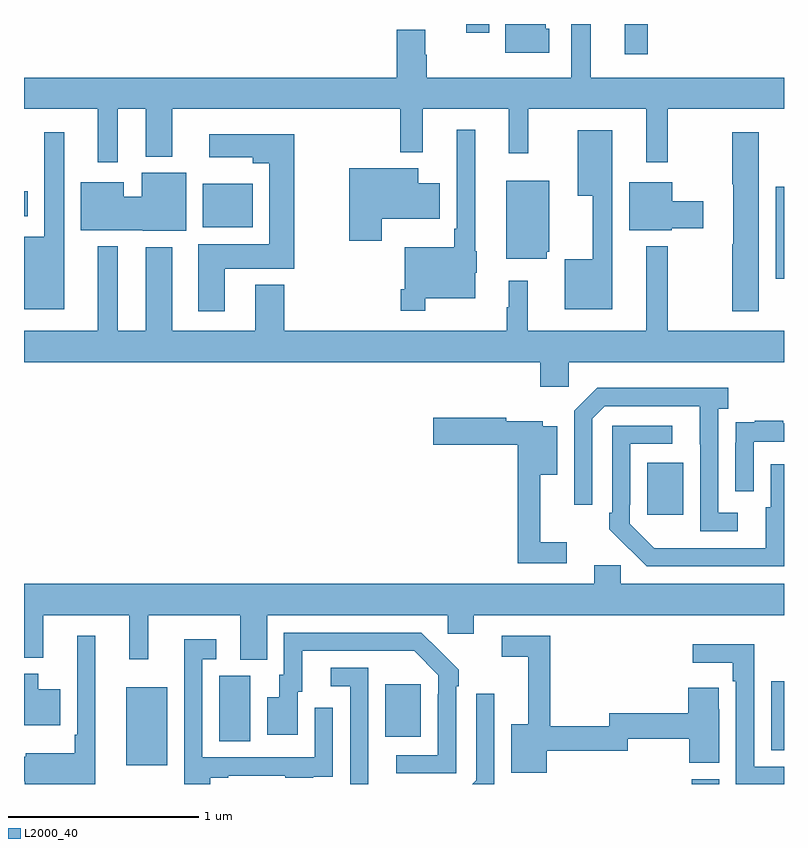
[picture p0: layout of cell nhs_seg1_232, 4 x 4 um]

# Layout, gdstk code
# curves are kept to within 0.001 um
import gdstk
lib = gdstk.Library(unit=1e-6, precision=1e-09)
def R(c, l, rs):  # rectangles x0, y0, x1, y1
    for r in rs: c.add(gdstk.rectangle(r[:2], r[2:], *l))
def P(c, l, *ps):  # polygons
    for p in ps: c.add(gdstk.Polygon(p, *l))
L2000_40 = (2000, 40)

nhs_seg1_232 = lib.new_cell('nhs_seg1_232')
R(nhs_seg1_232, L2000_40, [(126.515,528.199,126.658,528.225), (123.539,528.299,123.754,528.709), (126.932,528.376,127,528.739), (124.028,528.424,124.192,528.768), (124.901,528.449,125.089,528.724), (126.281,529.617,126.469,529.891), (126.957,530.859,127,531.343), (123.941,531.128,124.204,531.358), (123,531.188,123.019,531.318), (126.161,532.041,126.283,532.199), (125.327,532.152,125.449,532.199)])
P(nhs_seg1_232, L2000_40, [(125.764,532.173),(125.746,532.173),(125.746,532.199),(125.534,532.199),(125.534,532.049),(125.764,532.049)],
  [(123.493,531.752),(123.641,531.752),(123.641,531.5),(123.781,531.5),(123.781,531.752),(124.981,531.752),(124.981,531.524),(125.099,531.524),(125.099,531.752),(125.552,531.752),(125.552,531.519),(125.654,531.519),(125.654,531.752),(126.275,531.752),(126.275,531.471),(126.389,531.471),(126.389,531.752),(127,531.752),(127,531.916),(125.983,531.916),(125.983,532.198),(125.879,532.198),(125.879,531.916),(125.121,531.916),(125.121,532.037),(125.113,532.037),(125.113,532.168),(124.961,532.168),(124.961,531.916),(123,531.916),(123,531.752),(123.389,531.752),(123.389,531.471),(123.493,531.471)],
  [(125.113,530.756),(125.374,530.756),(125.374,530.889),(125.383,530.889),(125.383,531.003),(125.374,531.003),(125.374,531.643),(125.277,531.643),(125.277,531.121),(125.265,531.121),(125.265,531.025),(125.004,531.025),(125.004,530.803),(124.984,530.803),(124.984,530.691),(125.113,530.691)],
  [(126.097,531.64),(125.915,531.64),(125.915,531.296),(125.993,531.296),(125.993,530.962),(125.846,530.962),(125.846,530.699),(126.097,530.699)],
  [(123.211,531.628),(123.107,531.628),(123.107,531.079),(123,531.079),(123,530.699),(123.211,530.699)],
  [(126.868,531.628),(126.727,531.628),(126.727,531.355),(126.734,531.355),(126.734,531.041),(126.727,531.041),(126.727,530.688),(126.868,530.688)],
  [(124.057,530.912),(124.422,530.912),(124.422,531.619),(123.975,531.619),(123.975,531.497),(124.205,531.497),(124.205,531.467),(124.292,531.467),(124.292,531.04),(123.917,531.04),(123.917,530.688),(124.057,530.688)],
  [(124.884,531.173),(125.188,531.173),(125.188,531.361),(125.074,531.361),(125.074,531.439),(124.711,531.439),(124.711,531.057),(124.884,531.057)],
  [(123.853,531.415),(123.62,531.415),(123.62,531.289),(123.526,531.289),(123.526,531.367),(123.299,531.367),(123.299,531.113),(123.624,531.113),(123.624,531.11),(123.853,531.11)],
  [(125.752,531),(125.764,531),(125.764,531.373),(125.537,531.373),(125.537,530.963),(125.752,530.963)],
  [(126.408,531.125),(126.574,531.125),(126.574,531.267),(126.412,531.267),(126.412,531.367),(126.185,531.367),(126.185,531.113),(126.408,531.113)],
  [(125.868,530.42),(127,530.42),(127,530.584),(126.389,530.584),(126.389,531.028),(126.275,531.028),(126.275,530.584),(125.651,530.584),(125.651,530.848),(125.552,530.848),(125.552,530.708),(125.541,530.708),(125.541,530.584),(124.37,530.584),(124.37,530.827),(124.217,530.827),(124.217,530.584),(123.781,530.584),(123.781,531.025),(123.641,531.025),(123.641,530.584),(123.493,530.584),(123.493,531.028),(123.389,531.028),(123.389,530.584),(123,530.584),(123,530.42),(125.717,530.42),(125.717,530.289),(125.868,530.289)],
  [(126.757,529.626),(126.654,529.626),(126.654,530.174),(126.706,530.174),(126.706,530.284),(126.016,530.284),(125.895,530.163),(125.895,529.668),(125.991,529.668),(125.991,530.121),(126.057,530.187),(126.557,530.187),(126.558,529.53),(126.757,529.53)],
  [(125.857,529.471),(125.717,529.471),(125.717,529.826),(125.806,529.826),(125.806,530.083),(125.73,530.083),(125.73,530.107),(125.538,530.107),(125.538,530.127),(125.154,530.127),(125.154,529.985),(125.599,529.985),(125.599,529.362),(125.857,529.362)],
  [(126.84,530.001),(127,530.001),(127,530.097),(126.995,530.097),(126.995,530.11),(126.847,530.11),(126.847,530.103),(126.745,530.103),(126.745,529.994),(126.744,529.994),(126.744,529.74),(126.84,529.74)],
  [(127,529.882),(126.929,529.882),(126.929,529.656),(126.905,529.656),(126.905,529.44),(126.318,529.441),(126.189,529.569),(126.189,529.669),(126.192,529.669),(126.192,529.989),(126.412,529.989),(126.412,530.085),(126.096,530.085),(126.096,529.627),(126.081,529.627),(126.081,529.539),(126.278,529.344),(127,529.344)],
  [(124.279,529.088),(125.229,529.088),(125.229,528.99),(125.368,528.99),(125.368,529.088),(127,529.088),(127,529.252),(126.141,529.252),(126.141,529.35),(126.002,529.35),(126.002,529.252),(123,529.252),(123,529.088),(123.002,529.088),(123.002,528.863),(123.101,528.863),(123.101,529.088),(123.554,529.088),(123.554,528.855),(123.653,528.855),(123.653,529.088),(124.139,529.088),(124.139,528.853),(124.279,528.853)],
  [(125.274,528.713),(125.289,528.713),(125.289,528.801),(125.092,528.996),(124.368,528.996),(124.368,528.774),(124.343,528.774),(124.343,528.655),(124.28,528.655),(124.28,528.459),(124.441,528.459),(124.441,528.684),(124.465,528.684),(124.465,528.9),(125.053,528.9),(125.181,528.771),(125.181,528.671),(125.178,528.671),(125.178,528.351),(124.959,528.351),(124.959,528.255),(125.274,528.255)],
  [(123.376,528.979),(123.279,528.979),(123.279,528.457),(123.267,528.457),(123.267,528.361),(123.009,528.361),(123.009,528.343),(123,528.343),(123,528.214),(123.005,528.214),(123.005,528.199),(123.376,528.199)],
  [(125.752,528.375),(126.177,528.375),(126.177,528.436),(126.502,528.436),(126.502,528.31),(126.658,528.31),(126.658,528.593),(126.657,528.593),(126.657,528.706),(126.497,528.706),(126.497,528.572),(126.081,528.572),(126.081,528.503),(125.771,528.503),(125.771,528.978),(125.514,528.978),(125.514,528.87),(125.654,528.87),(125.654,528.514),(125.564,528.514),(125.564,528.257),(125.752,528.257)],
  [(123.979,528.231),(124.075,528.231),(124.075,528.243),(124.375,528.243),(124.375,528.231),(124.523,528.231),(124.523,528.237),(124.625,528.237),(124.625,528.346),(124.626,528.346),(124.626,528.601),(124.53,528.601),(124.53,528.339),(123.939,528.339),(123.939,528.855),(124.012,528.855),(124.012,528.961),(123.843,528.961),(123.843,528.199),(123.979,528.199)],
  [(127,528.291),(126.843,528.291),(126.843,528.934),(126.519,528.934),(126.519,528.836),(126.731,528.836),(126.731,528.74),(126.747,528.74),(126.747,528.199),(127,528.199)],
  [(124.813,528.353),(124.812,528.353),(124.812,528.81),(124.614,528.81),(124.614,528.714),(124.716,528.714),(124.716,528.199),(124.813,528.199)],
  [(123.19,528.697),(123.076,528.697),(123.076,528.778),(123,528.778),(123,528.509),(123.19,528.509)],
  [(125.475,528.673),(125.379,528.673),(125.379,528.219),(125.359,528.199),(125.475,528.199)])

lib.write_gds('nhs_seg1_232.gds')
